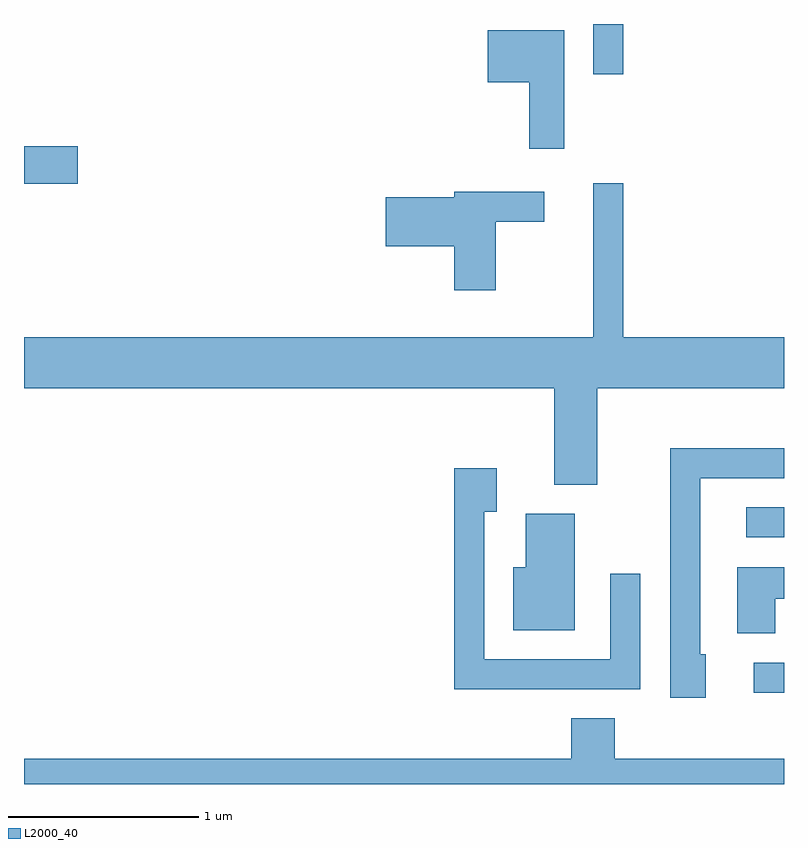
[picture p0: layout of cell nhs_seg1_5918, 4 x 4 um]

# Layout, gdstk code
import gdstk
lib = gdstk.Library(unit=1e-6, precision=1e-09)
def R(c, l, rs):  # rectangles x0, y0, x1, y1
    for r in rs: c.add(gdstk.rectangle(r[:2], r[2:], *l))
def P(c, l, *ps):  # polygons
    for p in ps: c.add(gdstk.Polygon(p, *l))
L2000_40 = (2000, 40)

nhs_seg1_5918 = lib.new_cell('nhs_seg1_5918')
R(nhs_seg1_5918, L2000_40, [(367.453,900.191,367.611,900.349), (367.413,901.011,367.611,901.169), (363.611,902.871,363.894,903.069), (366.606,903.448,366.764,903.712)])
P(nhs_seg1_5918, L2000_40, [(366.454,903.679),(366.051,903.679),(366.051,903.406),(366.271,903.406),(366.271,903.056),(366.454,903.056)],
  [(366.629,901.796),(367.611,901.796),(367.611,902.064),(366.764,902.064),(366.764,902.873),(366.606,902.873),(366.606,902.064),(363.611,902.064),(363.611,901.796),(366.401,901.796),(366.401,901.286),(366.629,901.286)],
  [(366.094,902.671),(366.348,902.671),(366.348,902.829),(365.876,902.829),(365.876,902.799),(365.516,902.799),(365.516,902.541),(365.876,902.541),(365.876,902.311),(366.094,902.311)],
  [(367.199,900.394),(367.169,900.394),(367.169,901.321),(367.611,901.321),(367.611,901.479),(367.011,901.479),(367.011,900.166),(367.199,900.166)],
  [(366.854,900.818),(366.696,900.818),(366.696,900.369),(366.034,900.369),(366.034,901.146),(366.099,901.146),(366.099,901.374),(365.876,901.374),(365.876,900.211),(366.854,900.211)],
  [(366.509,901.134),(366.251,901.134),(366.251,900.854),(366.186,900.854),(366.186,900.521),(366.509,900.521)],
  [(367.564,900.686),(367.611,900.686),(367.611,900.854),(367.366,900.854),(367.366,900.506),(367.564,900.506)],
  [(367.611,899.844),(366.719,899.844),(366.719,900.059),(366.491,900.059),(366.491,899.844),(363.611,899.844),(363.611,899.712),(367.611,899.712)])

lib.write_gds('nhs_seg1_5918.gds')
